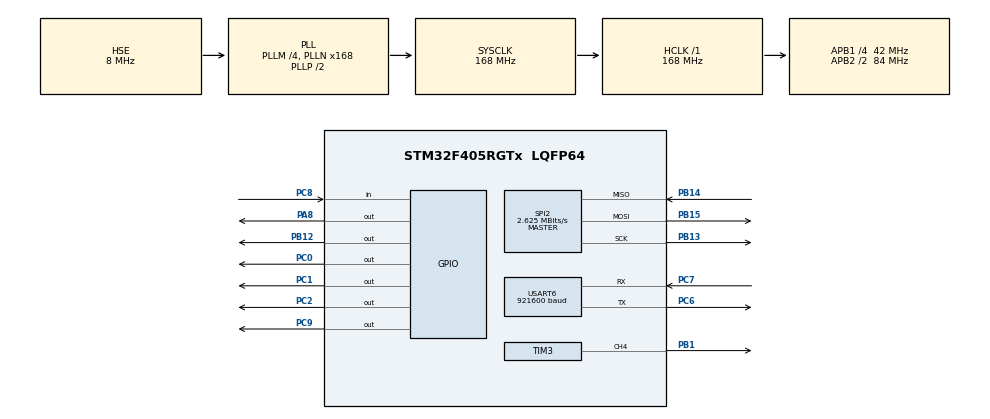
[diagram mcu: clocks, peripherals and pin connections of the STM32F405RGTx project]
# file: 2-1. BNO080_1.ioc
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Mcu.Family=STM32F4
Mcu.Name=STM32F405RGTx
Mcu.Package=LQFP64
NVIC.PriorityGroup=NVIC_PRIORITYGROUP_4
NVIC.USART6_IRQn=true\:0\:0\:false\:false\:true\:true\:true\:true
PA8.Signal=GPIO_Output
PB1.Signal=S_TIM3_CH4
PB12.Signal=GPIO_Output
PB13.Mode=Full_Duplex_Master
PB13.Signal=SPI2_SCK
PB14.Mode=Full_Duplex_Master
PB14.Signal=SPI2_MISO
PB15.Mode=Full_Duplex_Master
PB15.Signal=SPI2_MOSI
PC0.Signal=GPIO_Output
PC1.Signal=GPIO_Output
PC2.Signal=GPIO_Output
PC6.Mode=Asynchronous
PC6.Signal=USART6_TX
PC7.Mode=Asynchronous
PC7.Signal=USART6_RX
PC8.Signal=GPIO_Input
PC9.Signal=GPIO_Output
PH0-OSC_IN.Mode=HSE-External-Oscillator
PH0-OSC_IN.Signal=RCC_OSC_IN
PH1-OSC_OUT.Mode=HSE-External-Oscillator
PH1-OSC_OUT.Signal=RCC_OSC_OUT
ProjectManager.HeapSize=0x200
ProjectManager.StackSize=0x400
ProjectManager.TargetToolchain=STM32CubeIDE
RCC.48MHZClocksFreq_Value=84000000
RCC.AHBFreq_Value=168000000
RCC.APB1CLKDivider=RCC_HCLK_DIV4
RCC.APB1Freq_Value=42000000
RCC.APB1TimFreq_Value=84000000
RCC.APB2CLKDivider=RCC_HCLK_DIV2
RCC.APB2Freq_Value=84000000
RCC.APB2TimFreq_Value=168000000
RCC.CortexFreq_Value=168000000
RCC.HCLKFreq_Value=168000000
RCC.HSE_VALUE=8000000
RCC.HSI_VALUE=16000000
RCC.LSE_VALUE=32768
RCC.PLLM=4
RCC.PLLN=168
RCC.PLLSourceVirtual=RCC_PLLSOURCE_HSE
RCC.SYSCLKFreq_VALUE=168000000
RCC.SYSCLKSource=RCC_SYSCLKSOURCE_PLLCLK
RCC.VCOOutputFreq_Value=336000000
SH.S_TIM3_CH4.0=TIM3_CH4,PWM Generation4 CH4
SPI2.BaudRatePrescaler=SPI_BAUDRATEPRESCALER_16
SPI2.CLKPhase=SPI_PHASE_2EDGE
SPI2.CLKPolarity=SPI_POLARITY_HIGH
SPI2.CalculateBaudRate=2.625 MBits/s
SPI2.Direction=SPI_DIRECTION_2LINES
SPI2.Mode=SPI_MODE_MASTER
SPI2.VirtualType=VM_MASTER
TIM3.AutoReloadPreload=TIM_AUTORELOAD_PRELOAD_ENABLE
TIM3.Channel-PWM\ Generation4\ CH4=TIM_CHANNEL_4
TIM3.OCFastMode_PWM-PWM\ Generation4\ CH4=TIM_OCFAST_ENABLE
TIM3.Period=20
TIM3.Prescaler=999
TIM3.Pulse-PWM\ Generation4\ CH4=10
USART6.BaudRate=921600
USART6.VirtualMode=VM_ASYNC
VP_TIM3_VS_ClockSourceINT.Mode=Internal
board=custom

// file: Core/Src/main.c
/* USER CODE BEGIN Header */
/**
  ******************************************************************************
  * @file           : main.c
  * @brief          : Main program body
  ******************************************************************************
  * @attention
  *
  * Copyright (c) 2026 STMicroelectronics.
  * All rights reserved.
  *
  * This software is licensed under terms that can be found in the LICENSE file
  * in the root directory of this software component.
  * If no LICENSE file comes with this software, it is provided AS-IS.
  *
  ******************************************************************************
  */
/* USER CODE END Header */
#include "main.h"
#include "spi.h"
#include "tim.h"
#include "usart.h"
#include "gpio.h"
#include "bno080.h"
#include "Quaternion.h"

/* USER CODE BEGIN PTD */
int _write(int file, char* p, int len)
{
	for(int i=0; i<len;i++) {
		LL_USART_TransmitData8(USART6, *(p+i));
		HAL_Delay(1);
	}
	return len;
}
/* USER CODE END PTD */

void SystemClock_Config(void);

int main(void)
{

  /* USER CODE BEGIN 1 */
	float q[4];
	float quatRadianAccuracy;
	uint32_t prevTick = 0;
	uint32_t sampleCount = 0;
  /* USER CODE END 1 */

  /* MCU Configuration--------------------------------------------------------*/

  /* Reset of all peripherals, Initializes the Flash interface and the Systick. */
  HAL_Init();

  /* Configure the system clock */
  SystemClock_Config();

  /* Initialize all configured peripherals */
  MX_GPIO_Init();
  MX_TIM3_Init();
  MX_USART6_UART_Init();
  MX_SPI2_Init();
  /* USER CODE BEGIN 2 */
  LL_TIM_EnableCounter(TIM3);
  LL_TIM_CC_EnableChannel(TIM3, LL_TIM_CHANNEL_CH4);
  TIM3->PSC = 2000;
  HAL_Delay(100);
  TIM3->PSC = 1500;
  HAL_Delay(100);
  TIM3->PSC = 1000;
  HAL_Delay(100);

  LL_TIM_CC_DisableChannel(TIM3, LL_TIM_CHANNEL_CH4);
  LL_USART_EnableIT_RXNE(USART6);
  BNO080_Initialization();
  BNO080_enableRotationVector(2500);
  /* USER CODE END 2 */

  /* Infinite loop */
  while (1)
  {

    /* USER CODE BEGIN 3 */
	//HAL_GPIO_TogglePin(GPIOC, GPIO_PIN_0 | GPIO_PIN_1 | GPIO_PIN_2);
	 //LL_GPIO_TogglePin(GPIOC, LL_GPIO_PIN_0 | LL_GPIO_PIN_1 | LL_GPIO_PIN_2);
	  //LL_USART_TransmitData8(USART6, 'A');
	 // HAL_Delay(1000);

	if(BNO080_dataAvailable() == 1) {

		//LL_GPIO_TogglePin(GPIOC, LL_GPIO_PIN_0);
		  //sampleCount++;
		q[0] = BNO080_getQuatI();
		q[1] = BNO080_getQuatJ();
		q[2] = BNO080_getQuatK();
		q[3] = BNO080_getQuatReal();
		quatRadianAccuracy = BNO080_getQuatRadianAccuracy();

		Quaternion_Update(&q[0]);
		printf("%d, %d, %d \n",(int)(BNO080_Roll*100), (int)(BNO080_Pitch*100), (int)(BNO080_Yaw*100));
	}
//	  if(HAL_GetTick() - prevTick >= 1000) {
//	      printf("freq = %lu\r\n", sampleCount);
//	      sampleCount = 0;
//	      prevTick = HAL_GetTick();
//	  }
  }
  /* USER CODE END 3 */
}

void SystemClock_Config(void)
{
  RCC_OscInitTypeDef RCC_OscInitStruct = {0};
  RCC_ClkInitTypeDef RCC_ClkInitStruct = {0};

  /** Configure the main internal regulator output voltage
  */
  __HAL_RCC_PWR_CLK_ENABLE();
  __HAL_PWR_VOLTAGESCALING_CONFIG(PWR_REGULATOR_VOLTAGE_SCALE1);

  /** Initializes the RCC Oscillators according to the specified parameters
  * in the RCC_OscInitTypeDef structure.
  */
  RCC_OscInitStruct.OscillatorType = RCC_OSCILLATORTYPE_HSE;
  RCC_OscInitStruct.HSEState = RCC_HSE_ON;
  RCC_OscInitStruct.PLL.PLLState = RCC_PLL_ON;
  RCC_OscInitStruct.PLL.PLLSource = RCC_PLLSOURCE_HSE;
  RCC_OscInitStruct.PLL.PLLM = 4;
  RCC_OscInitStruct.PLL.PLLN = 168;
  RCC_OscInitStruct.PLL.PLLP = RCC_PLLP_DIV2;
  RCC_OscInitStruct.PLL.PLLQ = 4;
  if (HAL_RCC_OscConfig(&RCC_OscInitStruct) != HAL_OK)
  {
    Error_Handler();
  }

  /** Initializes the CPU, AHB and APB buses clocks
  */
  RCC_ClkInitStruct.ClockType = RCC_CLOCKTYPE_HCLK|RCC_CLOCKTYPE_SYSCLK
                              |RCC_CLOCKTYPE_PCLK1|RCC_CLOCKTYPE_PCLK2;
  RCC_ClkInitStruct.SYSCLKSource = RCC_SYSCLKSOURCE_PLLCLK;
  RCC_ClkInitStruct.AHBCLKDivider = RCC_SYSCLK_DIV1;
  RCC_ClkInitStruct.APB1CLKDivider = RCC_HCLK_DIV4;
  RCC_ClkInitStruct.APB2CLKDivider = RCC_HCLK_DIV2;

  if (HAL_RCC_ClockConfig(&RCC_ClkInitStruct, FLASH_LATENCY_5) != HAL_OK)
  {
    Error_Handler();
  }
}

void Error_Handler(void)
{
  __disable_irq();
  while (1)
  {
  }
}
